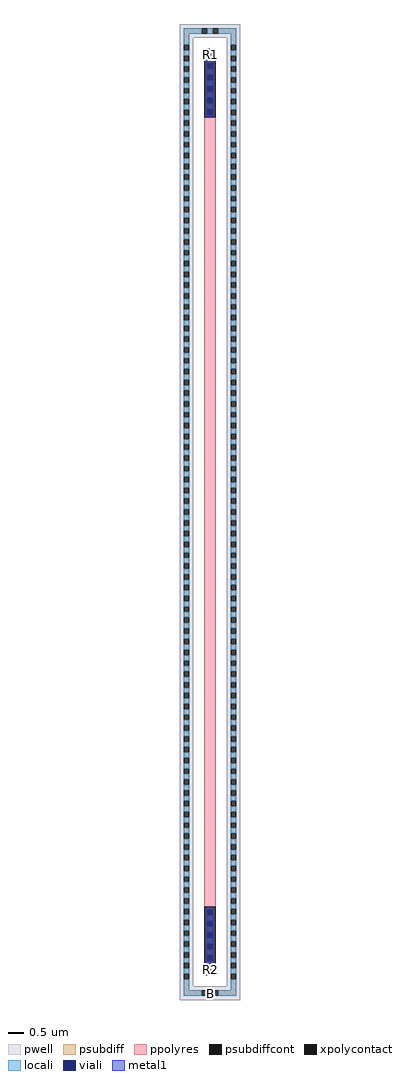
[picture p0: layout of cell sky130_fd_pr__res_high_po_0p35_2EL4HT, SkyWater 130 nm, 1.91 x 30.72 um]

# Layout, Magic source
magic
tech sky130A
magscale 1 2
<< pwell >>
rect -191 2986 191 3072
rect -191 -2986 -105 2986
rect 105 -2986 191 2986
rect -191 -3072 191 -2986
<< psubdiff >>
rect -165 3012 -51 3046
rect -17 3012 17 3046
rect 51 3012 165 3046
rect -165 2941 -131 3012
rect 131 2941 165 3012
rect -165 2873 -131 2907
rect -165 2805 -131 2839
rect -165 2737 -131 2771
rect -165 2669 -131 2703
rect -165 2601 -131 2635
rect -165 2533 -131 2567
rect -165 2465 -131 2499
rect -165 2397 -131 2431
rect -165 2329 -131 2363
rect -165 2261 -131 2295
rect -165 2193 -131 2227
rect -165 2125 -131 2159
rect -165 2057 -131 2091
rect -165 1989 -131 2023
rect -165 1921 -131 1955
rect -165 1853 -131 1887
rect -165 1785 -131 1819
rect -165 1717 -131 1751
rect -165 1649 -131 1683
rect -165 1581 -131 1615
rect -165 1513 -131 1547
rect -165 1445 -131 1479
rect -165 1377 -131 1411
rect -165 1309 -131 1343
rect -165 1241 -131 1275
rect -165 1173 -131 1207
rect -165 1105 -131 1139
rect -165 1037 -131 1071
rect -165 969 -131 1003
rect -165 901 -131 935
rect -165 833 -131 867
rect -165 765 -131 799
rect -165 697 -131 731
rect -165 629 -131 663
rect -165 561 -131 595
rect -165 493 -131 527
rect -165 425 -131 459
rect -165 357 -131 391
rect -165 289 -131 323
rect -165 221 -131 255
rect -165 153 -131 187
rect -165 85 -131 119
rect -165 17 -131 51
rect -165 -51 -131 -17
rect -165 -119 -131 -85
rect -165 -187 -131 -153
rect -165 -255 -131 -221
rect -165 -323 -131 -289
rect -165 -391 -131 -357
rect -165 -459 -131 -425
rect -165 -527 -131 -493
rect -165 -595 -131 -561
rect -165 -663 -131 -629
rect -165 -731 -131 -697
rect -165 -799 -131 -765
rect -165 -867 -131 -833
rect -165 -935 -131 -901
rect -165 -1003 -131 -969
rect -165 -1071 -131 -1037
rect -165 -1139 -131 -1105
rect -165 -1207 -131 -1173
rect -165 -1275 -131 -1241
rect -165 -1343 -131 -1309
rect -165 -1411 -131 -1377
rect -165 -1479 -131 -1445
rect -165 -1547 -131 -1513
rect -165 -1615 -131 -1581
rect -165 -1683 -131 -1649
rect -165 -1751 -131 -1717
rect -165 -1819 -131 -1785
rect -165 -1887 -131 -1853
rect -165 -1955 -131 -1921
rect -165 -2023 -131 -1989
rect -165 -2091 -131 -2057
rect -165 -2159 -131 -2125
rect -165 -2227 -131 -2193
rect -165 -2295 -131 -2261
rect -165 -2363 -131 -2329
rect -165 -2431 -131 -2397
rect -165 -2499 -131 -2465
rect -165 -2567 -131 -2533
rect -165 -2635 -131 -2601
rect -165 -2703 -131 -2669
rect -165 -2771 -131 -2737
rect -165 -2839 -131 -2805
rect -165 -2907 -131 -2873
rect 131 2873 165 2907
rect 131 2805 165 2839
rect 131 2737 165 2771
rect 131 2669 165 2703
rect 131 2601 165 2635
rect 131 2533 165 2567
rect 131 2465 165 2499
rect 131 2397 165 2431
rect 131 2329 165 2363
rect 131 2261 165 2295
rect 131 2193 165 2227
rect 131 2125 165 2159
rect 131 2057 165 2091
rect 131 1989 165 2023
rect 131 1921 165 1955
rect 131 1853 165 1887
rect 131 1785 165 1819
rect 131 1717 165 1751
rect 131 1649 165 1683
rect 131 1581 165 1615
rect 131 1513 165 1547
rect 131 1445 165 1479
rect 131 1377 165 1411
rect 131 1309 165 1343
rect 131 1241 165 1275
rect 131 1173 165 1207
rect 131 1105 165 1139
rect 131 1037 165 1071
rect 131 969 165 1003
rect 131 901 165 935
rect 131 833 165 867
rect 131 765 165 799
rect 131 697 165 731
rect 131 629 165 663
rect 131 561 165 595
rect 131 493 165 527
rect 131 425 165 459
rect 131 357 165 391
rect 131 289 165 323
rect 131 221 165 255
rect 131 153 165 187
rect 131 85 165 119
rect 131 17 165 51
rect 131 -51 165 -17
rect 131 -119 165 -85
rect 131 -187 165 -153
rect 131 -255 165 -221
rect 131 -323 165 -289
rect 131 -391 165 -357
rect 131 -459 165 -425
rect 131 -527 165 -493
rect 131 -595 165 -561
rect 131 -663 165 -629
rect 131 -731 165 -697
rect 131 -799 165 -765
rect 131 -867 165 -833
rect 131 -935 165 -901
rect 131 -1003 165 -969
rect 131 -1071 165 -1037
rect 131 -1139 165 -1105
rect 131 -1207 165 -1173
rect 131 -1275 165 -1241
rect 131 -1343 165 -1309
rect 131 -1411 165 -1377
rect 131 -1479 165 -1445
rect 131 -1547 165 -1513
rect 131 -1615 165 -1581
rect 131 -1683 165 -1649
rect 131 -1751 165 -1717
rect 131 -1819 165 -1785
rect 131 -1887 165 -1853
rect 131 -1955 165 -1921
rect 131 -2023 165 -1989
rect 131 -2091 165 -2057
rect 131 -2159 165 -2125
rect 131 -2227 165 -2193
rect 131 -2295 165 -2261
rect 131 -2363 165 -2329
rect 131 -2431 165 -2397
rect 131 -2499 165 -2465
rect 131 -2567 165 -2533
rect 131 -2635 165 -2601
rect 131 -2703 165 -2669
rect 131 -2771 165 -2737
rect 131 -2839 165 -2805
rect 131 -2907 165 -2873
rect -165 -3012 -131 -2941
rect 131 -3012 165 -2941
rect -165 -3046 -51 -3012
rect -17 -3046 17 -3012
rect 51 -3046 165 -3012
<< psubdiffcont >>
rect -51 3012 -17 3046
rect 17 3012 51 3046
rect -165 2907 -131 2941
rect -165 2839 -131 2873
rect -165 2771 -131 2805
rect -165 2703 -131 2737
rect -165 2635 -131 2669
rect -165 2567 -131 2601
rect -165 2499 -131 2533
rect -165 2431 -131 2465
rect -165 2363 -131 2397
rect -165 2295 -131 2329
rect -165 2227 -131 2261
rect -165 2159 -131 2193
rect -165 2091 -131 2125
rect -165 2023 -131 2057
rect -165 1955 -131 1989
rect -165 1887 -131 1921
rect -165 1819 -131 1853
rect -165 1751 -131 1785
rect -165 1683 -131 1717
rect -165 1615 -131 1649
rect -165 1547 -131 1581
rect -165 1479 -131 1513
rect -165 1411 -131 1445
rect -165 1343 -131 1377
rect -165 1275 -131 1309
rect -165 1207 -131 1241
rect -165 1139 -131 1173
rect -165 1071 -131 1105
rect -165 1003 -131 1037
rect -165 935 -131 969
rect -165 867 -131 901
rect -165 799 -131 833
rect -165 731 -131 765
rect -165 663 -131 697
rect -165 595 -131 629
rect -165 527 -131 561
rect -165 459 -131 493
rect -165 391 -131 425
rect -165 323 -131 357
rect -165 255 -131 289
rect -165 187 -131 221
rect -165 119 -131 153
rect -165 51 -131 85
rect -165 -17 -131 17
rect -165 -85 -131 -51
rect -165 -153 -131 -119
rect -165 -221 -131 -187
rect -165 -289 -131 -255
rect -165 -357 -131 -323
rect -165 -425 -131 -391
rect -165 -493 -131 -459
rect -165 -561 -131 -527
rect -165 -629 -131 -595
rect -165 -697 -131 -663
rect -165 -765 -131 -731
rect -165 -833 -131 -799
rect -165 -901 -131 -867
rect -165 -969 -131 -935
rect -165 -1037 -131 -1003
rect -165 -1105 -131 -1071
rect -165 -1173 -131 -1139
rect -165 -1241 -131 -1207
rect -165 -1309 -131 -1275
rect -165 -1377 -131 -1343
rect -165 -1445 -131 -1411
rect -165 -1513 -131 -1479
rect -165 -1581 -131 -1547
rect -165 -1649 -131 -1615
rect -165 -1717 -131 -1683
rect -165 -1785 -131 -1751
rect -165 -1853 -131 -1819
rect -165 -1921 -131 -1887
rect -165 -1989 -131 -1955
rect -165 -2057 -131 -2023
rect -165 -2125 -131 -2091
rect -165 -2193 -131 -2159
rect -165 -2261 -131 -2227
rect -165 -2329 -131 -2295
rect -165 -2397 -131 -2363
rect -165 -2465 -131 -2431
rect -165 -2533 -131 -2499
rect -165 -2601 -131 -2567
rect -165 -2669 -131 -2635
rect -165 -2737 -131 -2703
rect -165 -2805 -131 -2771
rect -165 -2873 -131 -2839
rect -165 -2941 -131 -2907
rect 131 2907 165 2941
rect 131 2839 165 2873
rect 131 2771 165 2805
rect 131 2703 165 2737
rect 131 2635 165 2669
rect 131 2567 165 2601
rect 131 2499 165 2533
rect 131 2431 165 2465
rect 131 2363 165 2397
rect 131 2295 165 2329
rect 131 2227 165 2261
rect 131 2159 165 2193
rect 131 2091 165 2125
rect 131 2023 165 2057
rect 131 1955 165 1989
rect 131 1887 165 1921
rect 131 1819 165 1853
rect 131 1751 165 1785
rect 131 1683 165 1717
rect 131 1615 165 1649
rect 131 1547 165 1581
rect 131 1479 165 1513
rect 131 1411 165 1445
rect 131 1343 165 1377
rect 131 1275 165 1309
rect 131 1207 165 1241
rect 131 1139 165 1173
rect 131 1071 165 1105
rect 131 1003 165 1037
rect 131 935 165 969
rect 131 867 165 901
rect 131 799 165 833
rect 131 731 165 765
rect 131 663 165 697
rect 131 595 165 629
rect 131 527 165 561
rect 131 459 165 493
rect 131 391 165 425
rect 131 323 165 357
rect 131 255 165 289
rect 131 187 165 221
rect 131 119 165 153
rect 131 51 165 85
rect 131 -17 165 17
rect 131 -85 165 -51
rect 131 -153 165 -119
rect 131 -221 165 -187
rect 131 -289 165 -255
rect 131 -357 165 -323
rect 131 -425 165 -391
rect 131 -493 165 -459
rect 131 -561 165 -527
rect 131 -629 165 -595
rect 131 -697 165 -663
rect 131 -765 165 -731
rect 131 -833 165 -799
rect 131 -901 165 -867
rect 131 -969 165 -935
rect 131 -1037 165 -1003
rect 131 -1105 165 -1071
rect 131 -1173 165 -1139
rect 131 -1241 165 -1207
rect 131 -1309 165 -1275
rect 131 -1377 165 -1343
rect 131 -1445 165 -1411
rect 131 -1513 165 -1479
rect 131 -1581 165 -1547
rect 131 -1649 165 -1615
rect 131 -1717 165 -1683
rect 131 -1785 165 -1751
rect 131 -1853 165 -1819
rect 131 -1921 165 -1887
rect 131 -1989 165 -1955
rect 131 -2057 165 -2023
rect 131 -2125 165 -2091
rect 131 -2193 165 -2159
rect 131 -2261 165 -2227
rect 131 -2329 165 -2295
rect 131 -2397 165 -2363
rect 131 -2465 165 -2431
rect 131 -2533 165 -2499
rect 131 -2601 165 -2567
rect 131 -2669 165 -2635
rect 131 -2737 165 -2703
rect 131 -2805 165 -2771
rect 131 -2873 165 -2839
rect 131 -2941 165 -2907
rect -51 -3046 -17 -3012
rect 17 -3046 51 -3012
<< xpolycontact >>
rect -35 2484 35 2916
rect -35 -2916 35 -2484
<< ppolyres >>
rect -35 -2484 35 2484
<< locali >>
rect -165 3012 -51 3046
rect -17 3012 17 3046
rect 51 3012 165 3046
rect -165 2941 -131 3012
rect 131 2941 165 3012
rect -165 2873 -131 2907
rect -165 2805 -131 2839
rect -165 2737 -131 2771
rect -165 2669 -131 2703
rect -165 2601 -131 2635
rect -165 2533 -131 2567
rect -165 2465 -131 2499
rect 131 2873 165 2907
rect 131 2805 165 2839
rect 131 2737 165 2771
rect 131 2669 165 2703
rect 131 2601 165 2635
rect 131 2533 165 2567
rect -165 2397 -131 2431
rect -165 2329 -131 2363
rect -165 2261 -131 2295
rect -165 2193 -131 2227
rect -165 2125 -131 2159
rect -165 2057 -131 2091
rect -165 1989 -131 2023
rect -165 1921 -131 1955
rect -165 1853 -131 1887
rect -165 1785 -131 1819
rect -165 1717 -131 1751
rect -165 1649 -131 1683
rect -165 1581 -131 1615
rect -165 1513 -131 1547
rect -165 1445 -131 1479
rect -165 1377 -131 1411
rect -165 1309 -131 1343
rect -165 1241 -131 1275
rect -165 1173 -131 1207
rect -165 1105 -131 1139
rect -165 1037 -131 1071
rect -165 969 -131 1003
rect -165 901 -131 935
rect -165 833 -131 867
rect -165 765 -131 799
rect -165 697 -131 731
rect -165 629 -131 663
rect -165 561 -131 595
rect -165 493 -131 527
rect -165 425 -131 459
rect -165 357 -131 391
rect -165 289 -131 323
rect -165 221 -131 255
rect -165 153 -131 187
rect -165 85 -131 119
rect -165 17 -131 51
rect -165 -51 -131 -17
rect -165 -119 -131 -85
rect -165 -187 -131 -153
rect -165 -255 -131 -221
rect -165 -323 -131 -289
rect -165 -391 -131 -357
rect -165 -459 -131 -425
rect -165 -527 -131 -493
rect -165 -595 -131 -561
rect -165 -663 -131 -629
rect -165 -731 -131 -697
rect -165 -799 -131 -765
rect -165 -867 -131 -833
rect -165 -935 -131 -901
rect -165 -1003 -131 -969
rect -165 -1071 -131 -1037
rect -165 -1139 -131 -1105
rect -165 -1207 -131 -1173
rect -165 -1275 -131 -1241
rect -165 -1343 -131 -1309
rect -165 -1411 -131 -1377
rect -165 -1479 -131 -1445
rect -165 -1547 -131 -1513
rect -165 -1615 -131 -1581
rect -165 -1683 -131 -1649
rect -165 -1751 -131 -1717
rect -165 -1819 -131 -1785
rect -165 -1887 -131 -1853
rect -165 -1955 -131 -1921
rect -165 -2023 -131 -1989
rect -165 -2091 -131 -2057
rect -165 -2159 -131 -2125
rect -165 -2227 -131 -2193
rect -165 -2295 -131 -2261
rect -165 -2363 -131 -2329
rect -165 -2431 -131 -2397
rect -165 -2499 -131 -2465
rect 131 2465 165 2499
rect 131 2397 165 2431
rect 131 2329 165 2363
rect 131 2261 165 2295
rect 131 2193 165 2227
rect 131 2125 165 2159
rect 131 2057 165 2091
rect 131 1989 165 2023
rect 131 1921 165 1955
rect 131 1853 165 1887
rect 131 1785 165 1819
rect 131 1717 165 1751
rect 131 1649 165 1683
rect 131 1581 165 1615
rect 131 1513 165 1547
rect 131 1445 165 1479
rect 131 1377 165 1411
rect 131 1309 165 1343
rect 131 1241 165 1275
rect 131 1173 165 1207
rect 131 1105 165 1139
rect 131 1037 165 1071
rect 131 969 165 1003
rect 131 901 165 935
rect 131 833 165 867
rect 131 765 165 799
rect 131 697 165 731
rect 131 629 165 663
rect 131 561 165 595
rect 131 493 165 527
rect 131 425 165 459
rect 131 357 165 391
rect 131 289 165 323
rect 131 221 165 255
rect 131 153 165 187
rect 131 85 165 119
rect 131 17 165 51
rect 131 -51 165 -17
rect 131 -119 165 -85
rect 131 -187 165 -153
rect 131 -255 165 -221
rect 131 -323 165 -289
rect 131 -391 165 -357
rect 131 -459 165 -425
rect 131 -527 165 -493
rect 131 -595 165 -561
rect 131 -663 165 -629
rect 131 -731 165 -697
rect 131 -799 165 -765
rect 131 -867 165 -833
rect 131 -935 165 -901
rect 131 -1003 165 -969
rect 131 -1071 165 -1037
rect 131 -1139 165 -1105
rect 131 -1207 165 -1173
rect 131 -1275 165 -1241
rect 131 -1343 165 -1309
rect 131 -1411 165 -1377
rect 131 -1479 165 -1445
rect 131 -1547 165 -1513
rect 131 -1615 165 -1581
rect 131 -1683 165 -1649
rect 131 -1751 165 -1717
rect 131 -1819 165 -1785
rect 131 -1887 165 -1853
rect 131 -1955 165 -1921
rect 131 -2023 165 -1989
rect 131 -2091 165 -2057
rect 131 -2159 165 -2125
rect 131 -2227 165 -2193
rect 131 -2295 165 -2261
rect 131 -2363 165 -2329
rect 131 -2431 165 -2397
rect -165 -2567 -131 -2533
rect -165 -2635 -131 -2601
rect -165 -2703 -131 -2669
rect -165 -2771 -131 -2737
rect -165 -2839 -131 -2805
rect -165 -2907 -131 -2873
rect 131 -2499 165 -2465
rect 131 -2567 165 -2533
rect 131 -2635 165 -2601
rect 131 -2703 165 -2669
rect 131 -2771 165 -2737
rect 131 -2839 165 -2805
rect 131 -2907 165 -2873
rect -165 -3012 -131 -2941
rect 131 -3012 165 -2941
rect -165 -3046 -51 -3012
rect -17 -3046 17 -3012
rect 51 -3046 165 -3012
<< viali >>
rect -17 2862 17 2896
rect -17 2790 17 2824
rect -17 2718 17 2752
rect -17 2646 17 2680
rect -17 2574 17 2608
rect -17 2502 17 2536
rect -17 -2537 17 -2503
rect -17 -2609 17 -2575
rect -17 -2681 17 -2647
rect -17 -2753 17 -2719
rect -17 -2825 17 -2791
rect -17 -2897 17 -2863
<< metal1 >>
rect -25 2896 25 2910
rect -25 2862 -17 2896
rect 17 2862 25 2896
rect -25 2824 25 2862
rect -25 2790 -17 2824
rect 17 2790 25 2824
rect -25 2752 25 2790
rect -25 2718 -17 2752
rect 17 2718 25 2752
rect -25 2680 25 2718
rect -25 2646 -17 2680
rect 17 2646 25 2680
rect -25 2608 25 2646
rect -25 2574 -17 2608
rect 17 2574 25 2608
rect -25 2536 25 2574
rect -25 2502 -17 2536
rect 17 2502 25 2536
rect -25 2489 25 2502
rect -25 -2503 25 -2489
rect -25 -2537 -17 -2503
rect 17 -2537 25 -2503
rect -25 -2575 25 -2537
rect -25 -2609 -17 -2575
rect 17 -2609 25 -2575
rect -25 -2647 25 -2609
rect -25 -2681 -17 -2647
rect 17 -2681 25 -2647
rect -25 -2719 25 -2681
rect -25 -2753 -17 -2719
rect 17 -2753 25 -2719
rect -25 -2791 25 -2753
rect -25 -2825 -17 -2791
rect 17 -2825 25 -2791
rect -25 -2863 25 -2825
rect -25 -2897 -17 -2863
rect 17 -2897 25 -2863
rect -25 -2910 25 -2897
<< labels >>
rlabel locali s 0 -3029 0 -3029 4 B
rlabel locali s 0 2881 0 2881 4 R1
rlabel locali s 0 -2881 0 -2881 4 R2
<< properties >>
string FIXED_BBOX -148 -3029 148 3029
<< end >>
